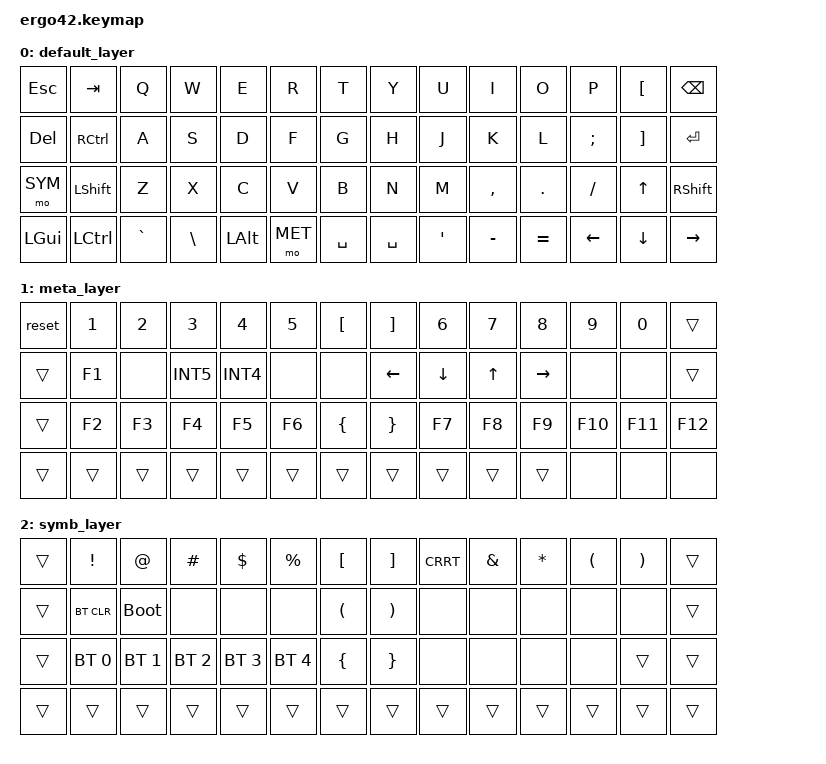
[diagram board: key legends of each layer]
/*
 * Copyright (c) 2020 The ZMK Contributors
 *
 * SPDX-License-Identifier: MIT
 */

#include <behaviors.dtsi>
#include <dt-bindings/zmk/keys.h>
#include <dt-bindings/zmk/bt.h>

#define DEF 0
#define MET 1
#define SYM 2


/ {
        keymap {
                compatible = "zmk,keymap";

                default_layer {
                        bindings = <
   &kp ESC  &kp TAB   &kp Q     &kp W    &kp E    &kp R   &kp T         &kp Y   &kp U   &kp I     &kp O     &kp P    &kp LBKT &kp BSPC
   &kp DEL  &kp RCTRL &kp A     &kp S    &kp D    &kp F   &kp G         &kp H   &kp J   &kp K     &kp L     &kp SEMI &kp RBKT &kp RET
   &mo SYM  &kp LSHFT &kp Z     &kp X    &kp C    &kp V   &kp B         &kp N   &kp M   &kp COMMA &kp DOT   &kp FSLH &kp UP   &kp RSHFT
   &kp LGUI &kp LCTRL &kp GRAVE &kp BSLH &kp LALT &mo MET &kp SPC       &kp SPC &kp SQT &kp MINUS &kp EQUAL &kp LEFT &kp DOWN &kp RIGHT
                        >;
                };
                meta_layer {
                        bindings = <
    &reset &kp N1 &kp N2 &kp N3   &kp N4   &kp N5 &kp LBKT          &kp RBKT &kp N6   &kp N7 &kp N8    &kp N9  &kp N0  &trans
    &trans &kp F1 &none  &kp INT5 &kp INT4 &none  &none             &kp LEFT &kp DOWN &kp UP &kp RIGHT &none   &none   &trans
    &trans &kp F2 &kp F3 &kp F4   &kp F5   &kp F6 &kp LBRC          &kp RBRC &kp F7   &kp F8 &kp F9    &kp F10 &kp F11 &kp F12
    &trans &trans &trans &trans   &trans   &trans &trans            &trans   &trans   &trans &trans    &none   &none   &none
                        >;
                };

                symb_layer {
                        bindings = <
    &trans &kp EXCL     &kp AT       &kp HASH     &kp DLLR     &kp PRCNT    &kp LBKT        &kp RBKT &kp CRRT &kp AMPS &kp STAR &kp LPAR &kp RPAR &trans
    &trans &bt BT_CLR   &bootloader  &none        &none        &none        &kp LPAR        &kp RPAR &none    &none    &none    &none    &none    &trans
    &trans &bt BT_SEL 0 &bt BT_SEL 1 &bt BT_SEL 2 &bt BT_SEL 3 &bt BT_SEL 4 &kp LBRC        &kp RBRC &none    &none    &none    &none    &trans   &trans
    &trans &trans       &trans       &trans       &trans       &trans       &trans          &trans   &trans   &trans   &trans   &trans   &trans   &trans
                        >;
                };
        };
};
